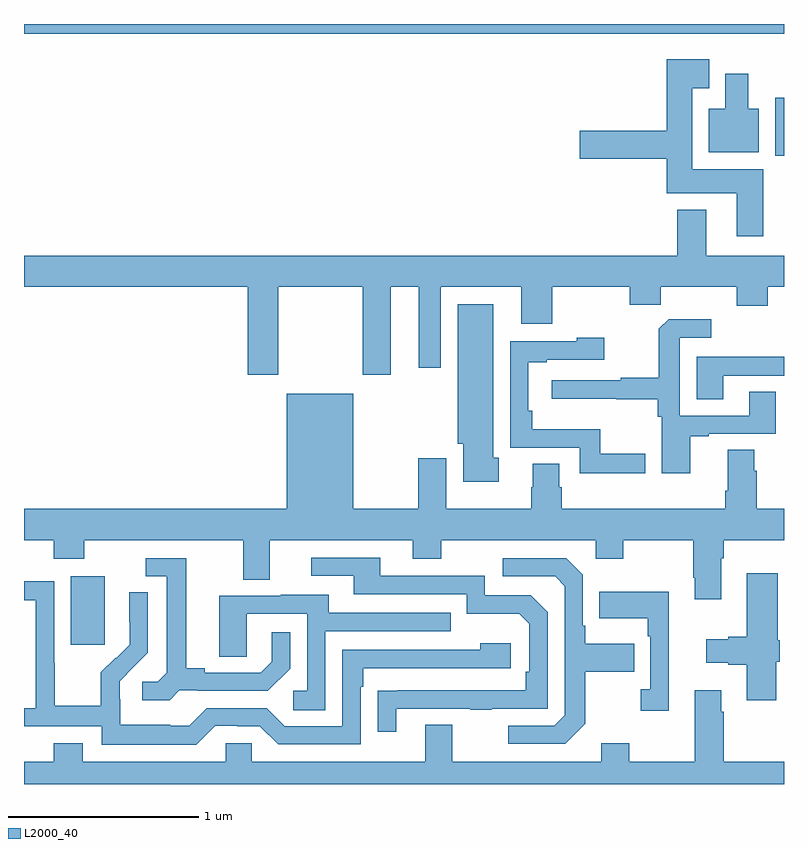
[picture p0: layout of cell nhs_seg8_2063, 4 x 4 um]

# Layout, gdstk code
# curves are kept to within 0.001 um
import gdstk
lib = gdstk.Library(unit=1e-6, precision=1e-09)
def R(c, l, rs):  # rectangles x0, y0, x1, y1
    for r in rs: c.add(gdstk.rectangle(r[:2], r[2:], *l))
def P(c, l, *ps):  # polygons
    for p in ps: c.add(gdstk.Polygon(p, *l))
L2000_40 = (2000, 40)

nhs_seg8_2063 = lib.new_cell('nhs_seg8_2063')
R(nhs_seg8_2063, L2000_40, [(241.247,1098.633,241.426,1098.994), (244.955,1101.206,245,1101.511), (241,1101.848,245,1101.9)])
P(nhs_seg8_2063, L2000_40, [(244.891,1101.136),(244.516,1101.136),(244.516,1101.563),(244.606,1101.563),(244.606,1101.715),(244.382,1101.715),(244.382,1101.338),(243.924,1101.338),(243.924,1101.191),(244.382,1101.191),(244.382,1101.008),(244.751,1101.008),(244.751,1100.784),(244.891,1100.784)],
  [(244.867,1101.454),(244.813,1101.454),(244.813,1101.637),(244.691,1101.637),(244.691,1101.454),(244.604,1101.454),(244.604,1101.224),(244.867,1101.224)],
  [(242.337,1100.516),(242.782,1100.516),(242.782,1100.055),(242.929,1100.055),(242.929,1100.516),(243.077,1100.516),(243.077,1100.091),(243.193,1100.091),(243.193,1100.516),(243.617,1100.516),(243.617,1100.322),(243.781,1100.322),(243.781,1100.516),(244.187,1100.516),(244.187,1100.423),(244.351,1100.423),(244.351,1100.516),(244.751,1100.516),(244.751,1100.417),(244.915,1100.417),(244.915,1100.516),(245,1100.516),(245,1100.68),(244.591,1100.68),(244.591,1100.923),(244.439,1100.923),(244.439,1100.68),(241,1100.68),(241,1100.516),(242.177,1100.516),(242.177,1100.055),(242.337,1100.055)],
  [(243.499,1099.616),(243.469,1099.616),(243.469,1100.425),(243.284,1100.425),(243.284,1099.692),(243.311,1099.692),(243.311,1099.49),(243.499,1099.49)],
  [(244.507,1099.731),(244.603,1099.731),(244.603,1099.743),(244.957,1099.743),(244.957,1099.964),(244.817,1099.964),(244.817,1099.839),(244.452,1099.839),(244.452,1100.25),(244.618,1100.25),(244.618,1100.347),(244.393,1100.347),(244.341,1100.295),(244.341,1100.038),(244.141,1100.038),(244.141,1100.025),(243.777,1100.025),(243.777,1099.928),(244.117,1099.928),(244.117,1099.924),(244.336,1099.924),(244.336,1099.832),(244.356,1099.832),(244.356,1099.536),(244.507,1099.536)],
  [(244.27,1099.637),(244.033,1099.637),(244.033,1099.768),(243.674,1099.768),(243.674,1099.864),(243.654,1099.864),(243.654,1100.121),(243.751,1100.121),(243.751,1100.133),(244.054,1100.133),(244.054,1100.248),(243.909,1100.248),(243.909,1100.229),(243.558,1100.229),(243.558,1099.671),(243.924,1099.671),(243.924,1099.535),(244.27,1099.535)],
  [(244.681,1100.049),(245,1100.049),(245,1100.15),(244.541,1100.15),(244.541,1099.924),(244.681,1099.924)],
  [(244.669,1099.088),(244.682,1099.088),(244.682,1099.184),(245,1099.184),(245,1099.348),(244.856,1099.348),(244.856,1099.55),(244.843,1099.55),(244.843,1099.658),(244.703,1099.658),(244.703,1099.444),(244.691,1099.444),(244.691,1099.348),(243.83,1099.348),(243.83,1099.461),(243.817,1099.461),(243.817,1099.586),(243.677,1099.586),(243.677,1099.461),(243.67,1099.461),(243.67,1099.348),(243.223,1099.348),(243.223,1099.615),(243.076,1099.615),(243.076,1099.348),(242.734,1099.348),(242.734,1099.954),(242.384,1099.954),(242.384,1099.348),(241,1099.348),(241,1099.184),(241.157,1099.184),(241.157,1099.085),(241.317,1099.085),(241.317,1099.184),(242.153,1099.184),(242.153,1098.976),(242.293,1098.976),(242.293,1099.184),(243.047,1099.184),(243.047,1099.085),(243.195,1099.085),(243.195,1099.184),(244.008,1099.184),(244.008,1099.085),(244.155,1099.085),(244.155,1099.184),(244.522,1099.184),(244.522,1098.985),(244.529,1098.985),(244.529,1098.873),(244.669,1098.873)],
  [(242.959,1098.297),(243.349,1098.297),(243.349,1098.292),(243.461,1098.292),(243.461,1098.297),(243.756,1098.297),(243.756,1098.804),(243.666,1098.894),(243.426,1098.894),(243.426,1098.996),(242.875,1098.996),(242.875,1099.092),(242.511,1099.092),(242.511,1098.996),(242.735,1098.996),(242.735,1098.9),(243.33,1098.9),(243.33,1098.797),(243.607,1098.797),(243.66,1098.744),(243.66,1098.49),(243.64,1098.49),(243.64,1098.393),(242.863,1098.392),(242.863,1098.174),(242.959,1098.174)],
  [(241.818,1098.393),(241.912,1098.393),(241.912,1098.39),(242.284,1098.39),(242.4,1098.506),(242.4,1098.7),(242.303,1098.7),(242.303,1098.543),(242.246,1098.486),(241.951,1098.486),(241.951,1098.509),(241.855,1098.509),(241.855,1099.089),(241.641,1099.089),(241.641,1098.993),(241.751,1098.993),(241.751,1098.485),(241.704,1098.438),(241.623,1098.438),(241.623,1098.341),(241.766,1098.341)],
  [(243.955,1098.217),(243.955,1098.49),(244.211,1098.49),(244.211,1098.637),(243.955,1098.637),(243.955,1098.733),(243.942,1098.733),(243.942,1099.002),(243.855,1099.089),(243.519,1099.089),(243.519,1098.993),(243.795,1098.993),(243.846,1098.942),(243.846,1098.261),(243.792,1098.207),(243.549,1098.207),(243.549,1098.111),(243.849,1098.111)],
  [(244.96,1098.543),(244.978,1098.543),(244.978,1098.657),(244.968,1098.657),(244.968,1099.009),(244.805,1099.009),(244.805,1098.674),(244.706,1098.674),(244.706,1098.661),(244.59,1098.661),(244.59,1098.539),(244.706,1098.539),(244.706,1098.527),(244.805,1098.527),(244.805,1098.342),(244.96,1098.342)],
  [(242.007,1098.207),(242.123,1098.207),(242.123,1098.204),(242.241,1098.204),(242.337,1098.108),(242.772,1098.108),(242.772,1098.413),(242.785,1098.413),(242.785,1098.51),(243.562,1098.51),(243.562,1098.64),(243.401,1098.64),(243.401,1098.606),(242.676,1098.606),(242.676,1098.204),(242.373,1098.204),(242.277,1098.3),(241.962,1098.3),(241.869,1098.207),(241.769,1098.207),(241.769,1098.211),(241.506,1098.211),(241.506,1098.345),(241.504,1098.345),(241.504,1098.442),(241.65,1098.59),(241.65,1098.908),(241.554,1098.908),(241.554,1098.754),(241.556,1098.754),(241.556,1098.632),(241.485,1098.561),(241.482,1098.564),(241.405,1098.487),(241.405,1098.313),(241.161,1098.313),(241.161,1098.536),(241.158,1098.536),(241.158,1098.966),(241,1098.966),(241,1098.867),(241.062,1098.867),(241.062,1098.3),(241,1098.3),(241,1098.204),(241.41,1098.204),(241.41,1098.107),(241.907,1098.107)],
  [(244.394,1098.913),(244.027,1098.913),(244.027,1098.773),(244.284,1098.773),(244.284,1098.677),(244.296,1098.677),(244.296,1098.398),(244.245,1098.398),(244.245,1098.285),(244.394,1098.285)],
  [(242.586,1098.705),(243.245,1098.705),(243.245,1098.801),(242.605,1098.801),(242.605,1098.895),(242.351,1098.895),(242.351,1098.891),(242.027,1098.891),(242.027,1098.571),(242.172,1098.571),(242.172,1098.795),(242.49,1098.795),(242.49,1098.39),(242.418,1098.39),(242.418,1098.289),(242.586,1098.289)],
  [(245,1098.016),(244.682,1098.016),(244.682,1098.281),(244.669,1098.281),(244.669,1098.394),(244.529,1098.394),(244.529,1098.016),(244.185,1098.016),(244.185,1098.115),(244.037,1098.115),(244.037,1098.016),(243.253,1098.016),(243.253,1098.211),(243.113,1098.211),(243.113,1098.016),(242.199,1098.016),(242.199,1098.114),(242.061,1098.114),(242.061,1098.016),(241.309,1098.016),(241.309,1098.115),(241.157,1098.115),(241.157,1098.016),(241,1098.016),(241,1097.9),(245,1097.9)])

lib.write_gds('nhs_seg8_2063.gds')
